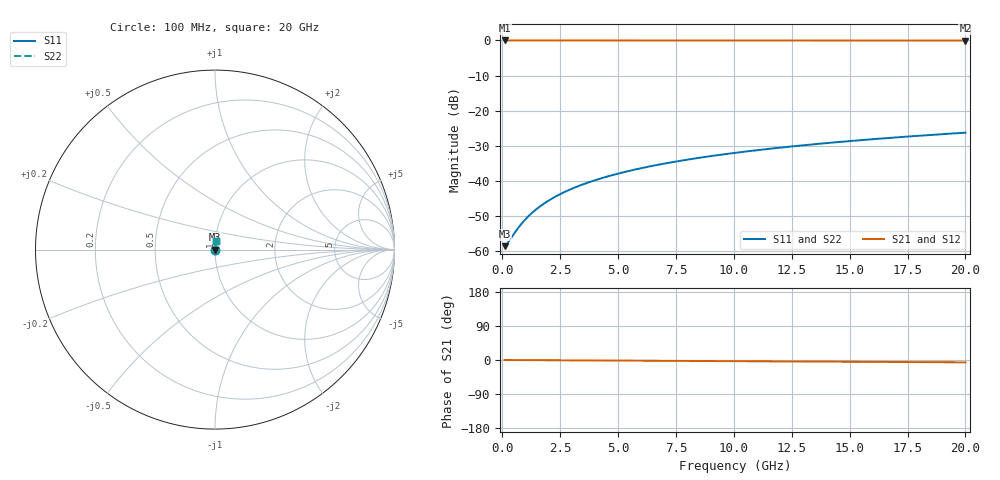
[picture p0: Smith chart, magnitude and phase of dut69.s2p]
! Touchstone file exported from HFSS 2026.1.0
!  File:  C:/ffzhzh/LocalFiles/Ansys_Project_Files/temp_train_TSV_69_1782959211_6388.aedt
!  Generated:  10:28:57 AM Jul  2, 2026
!  Design:  TSV
!  Project:  temp_train_TSV_69_1782959211_6388
! Variables:
!  h_bsmrdl = 2um
!  h_ox = 20um
!  h_rdl = 5um
!  h_sub = 56.36um
!  h_tmrdl = 5um
!  h_tsv = 56.36um
!  h_via = 3um
!  l_bsmrdl = 300um
!  l_sub = 404.82um
!  l_tmrdl = 200um
!  m_sub = 200um
!  pitch = 20.47um
!  r_tsv = 2.41um
!  s_tmrdl = 10um
!  w_bsmrdl = 18um
!  w_sub = 500um
!  w_tmrdl = 12um
!  x_tsv_center1 = 206um
!  x_tsv_center2 = 524um
!  x_tsv_center3 = 736um
!  x_tsv_center4 = 1054um
!  x_tsv_center5 = 1266um
!  x_tsv_center6 = 1584um
# GHz S MA R 50.000000
! Terminal data exported
! Port[1] = TSV1_1_T1
! Port[2] = TSV1_1_T2
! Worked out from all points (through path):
!   200 points, 100 MHz to 20 GHz, reference 50 ohm
!   highest |S21| = -0.01 dB at 100 MHz (marker M1); lowest = 0.0 dB at 20 GHz (marker M2)
!   lowest |S11| = -58.6 dB at 100 MHz (marker M3), VSWR 1.00, Z = 50.1 + j0.0264 ohm
!   |S11| at or under -10 dB: start of sweep to end of sweep
!   |S22| runs from -58.6 to -26.3 dB; largest |S21 - S12| = 3.1e-15
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0.1  0.001172 13.0  0.9989 -0.0  0.9989 -0.0  0.001172 13.0
! Gamma 0 0 0 0
! Port Impedance 50 0 50 0
0.2  0.001262 24.6  0.9989 -0.1  0.9989 -0.1  0.001262 24.6
0.3  0.001397 34.2  0.9988 -0.1  0.9988 -0.1  0.001397 34.2
0.6  0.001951 52.7  0.9988 -0.2  0.9988 -0.2  0.001951 52.7
0.7  0.002162 56.5  0.9988 -0.2  0.9988 -0.2  0.002162 56.5
0.9  0.002604 62.3  0.9988 -0.3  0.9988 -0.3  0.002604 62.3
1.2  0.003298 68.0  0.9988 -0.4  0.9988 -0.4  0.003298 68.0
1.5  0.004012 71.7  0.9988 -0.5  0.9988 -0.5  0.004012 71.7
1.9  0.004982 74.9  0.9987 -0.6  0.9987 -0.6  0.004982 74.9
2.4  0.006211 77.5  0.9987 -0.8  0.9987 -0.8  0.006211 77.5
2.9  0.007449 79.1  0.9987 -0.9  0.9987 -0.9  0.007449 79.1
3.5  0.008938 80.3  0.9986 -1.1  0.9986 -1.1  0.008938 80.3
4.2  0.01068 81.2  0.9986 -1.3  0.9986 -1.3  0.01068 81.2
5  0.01266 81.9  0.9985 -1.6  0.9985 -1.6  0.01266 81.9
5.9  0.01489 82.2  0.9984 -1.9  0.9984 -1.9  0.01489 82.2
6.8  0.01711 82.4  0.9982 -2.1  0.9982 -2.1  0.01711 82.4
8.3  0.02078 82.5  0.998 -2.6  0.998 -2.6  0.02078 82.5
10.1  0.02514 82.3  0.9977 -3.2  0.9977 -3.2  0.02514 82.3
11.7  0.02898 82.1  0.9974 -3.6  0.9974 -3.6  0.02898 82.1
13.4  0.03303 81.7  0.9971 -4.2  0.9971 -4.2  0.03303 81.7
16.7  0.04081 81.0  0.9965 -5.2  0.9965 -5.2  0.04081 81.0
20  0.04851 80.3  0.9958 -6.2  0.9958 -6.2  0.04851 80.3
